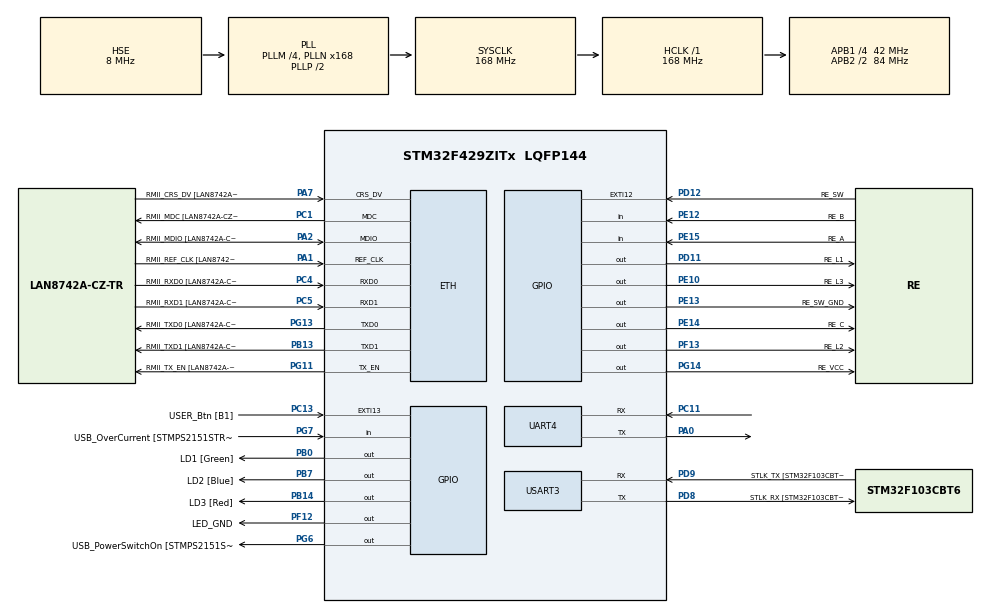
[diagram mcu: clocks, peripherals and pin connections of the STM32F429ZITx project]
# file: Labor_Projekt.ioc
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ETH.MediaInterface=ETH_MEDIA_INTERFACE_RMII
ETH.PHY_Name=LAN8742A_PHY_ADDRESS
ETH.PHY_Value=0
ETH.PhyAddress=0
FREERTOS.Tasks01=defaultTask,0,128,StartDefaultTask,Default,NULL
Mcu.Family=STM32F4
Mcu.Name=STM32F429ZITx
Mcu.Package=LQFP144
NVIC.EXTI15_10_IRQn=true\:5\:0\:false\:false\:true\:true\:true
NVIC.PriorityGroup=NVIC_PRIORITYGROUP_4
NVIC.TIM1_UP_TIM10_IRQn=true\:0\:0\:false\:false\:true\:false\:false
NVIC.TimeBase=TIM1_UP_TIM10_IRQn
NVIC.TimeBaseIP=TIM1
NVIC.UART4_IRQn=true\:5\:0\:false\:false\:true\:true\:true
PA0/WKUP.Mode=Asynchronous
PA0/WKUP.Signal=UART4_TX
PA1.GPIO_Label=RMII_REF_CLK [LAN8742A-CZ-TR_REFCLK0]
PA1.Mode=RMII
PA1.Signal=ETH_REF_CLK
PA10.GPIO_Label=USB_ID
PA10.Signal=USB_OTG_FS_ID
PA11.GPIO_Label=USB_DM
PA11.Signal=USB_OTG_FS_DM
PA12.GPIO_Label=USB_DP
PA12.Signal=USB_OTG_FS_DP
PA13.GPIO_Label=TMS
PA13.Mode=Serial_Wire
PA13.Signal=SYS_JTMS-SWDIO
PA14.GPIO_Label=TCK
PA14.Mode=Serial_Wire
PA14.Signal=SYS_JTCK-SWCLK
PA2.GPIO_Label=RMII_MDIO [LAN8742A-CZ-TR_MDIO]
PA2.Mode=RMII
PA2.Signal=ETH_MDIO
PA7.GPIO_Label=RMII_CRS_DV [LAN8742A-CZ-TR_CRS_DV]
PA7.Mode=RMII
PA7.Signal=ETH_CRS_DV
PA8.GPIO_Label=USB_SOF [TP1]
PA8.Signal=USB_OTG_FS_SOF
PA9.GPIO_Label=USB_VBUS
PA9.Signal=USB_OTG_FS_VBUS
PB0.GPIO_Label=LD1 [Green]
PB0.Signal=GPIO_Output
PB13.GPIO_Label=RMII_TXD1 [LAN8742A-CZ-TR_TXD1]
PB13.Mode=RMII
PB13.Signal=ETH_TXD1
PB14.GPIO_Label=LD3 [Red]
PB14.Signal=GPIO_Output
PB7.GPIO_Label=LD2 [Blue]
PB7.Signal=GPIO_Output
PC1.GPIO_Label=RMII_MDC [LAN8742A-CZ-TR_MDC]
PC1.Mode=RMII
PC1.Signal=ETH_MDC
PC11.Mode=Asynchronous
PC11.Signal=UART4_RX
PC13.GPIO_Label=USER_Btn [B1]
PC13.GPIO_ModeDefaultEXTI=GPIO_MODE_IT_RISING_FALLING
PC13.Signal=GPXTI13
PC14/OSC32_IN.Mode=LSE-External-Oscillator
PC14/OSC32_IN.Signal=RCC_OSC32_IN
PC15/OSC32_OUT.Mode=LSE-External-Oscillator
PC15/OSC32_OUT.Signal=RCC_OSC32_OUT
PC4.GPIO_Label=RMII_RXD0 [LAN8742A-CZ-TR_RXD0]
PC4.Mode=RMII
PC4.Signal=ETH_RXD0
PC5.GPIO_Label=RMII_RXD1 [LAN8742A-CZ-TR_RXD1]
PC5.Mode=RMII
PC5.Signal=ETH_RXD1
PD11.GPIO_Label=RE_L1
PD11.Signal=GPIO_Output
PD12.GPIO_Label=RE_SW
PD12.Signal=GPXTI12
PD8.GPIO_Label=STLK_RX [STM32F103CBT6_PA3]
PD8.Mode=Asynchronous
PD8.Signal=USART3_TX
PD9.GPIO_Label=STLK_TX [STM32F103CBT6_PA2]
PD9.Mode=Asynchronous
PD9.Signal=USART3_RX
PE10.GPIO_Label=RE_L3
PE10.Signal=GPIO_Output
PE12.GPIO_Label=RE_B
PE12.Signal=GPIO_Input
PE13.GPIO_Label=RE_SW_GND
PE13.Signal=GPIO_Output
PE14.GPIO_Label=RE_C
PE14.Signal=GPIO_Output
PE15.GPIO_Label=RE_A
PE15.Signal=GPIO_Input
PF12.GPIO_Label=LED_GND
PF12.Signal=GPIO_Output
PF13.GPIO_Label=RE_L2
PF13.Signal=GPIO_Output
PG11.GPIO_Label=RMII_TX_EN [LAN8742A-CZ-TR_TXEN]
PG11.Mode=RMII
PG11.Signal=ETH_TX_EN
PG13.GPIO_Label=RMII_TXD0 [LAN8742A-CZ-TR_TXD0]
PG13.Mode=RMII
PG13.Signal=ETH_TXD0
PG14.GPIO_Label=RE_VCC
PG14.PinState=GPIO_PIN_SET
PG14.Signal=GPIO_Output
PG6.GPIO_Label=USB_PowerSwitchOn [STMPS2151STR_EN]
PG6.Signal=GPIO_Output
PG7.GPIO_Label=USB_OverCurrent [STMPS2151STR_FAULT]
PG7.Signal=GPIO_Input
PH0/OSC_IN.GPIO_Label=MCO [STM32F103CBT6_PA8]
PH0/OSC_IN.Mode=HSE-External-Clock-Source
PH0/OSC_IN.Signal=RCC_OSC_IN
PH1/OSC_OUT.Mode=HSE-External-Clock-Source
PH1/OSC_OUT.Signal=RCC_OSC_OUT
ProjectManager.HeapSize=0x200
ProjectManager.StackSize=0x400
ProjectManager.TargetToolchain=TrueSTUDIO
RCC.48MHZClocksFreq_Value=48000000
RCC.AHBFreq_Value=168000000
RCC.APB1CLKDivider=RCC_HCLK_DIV4
RCC.APB1Freq_Value=42000000
RCC.APB1TimFreq_Value=84000000
RCC.APB2CLKDivider=RCC_HCLK_DIV2
RCC.APB2Freq_Value=84000000
RCC.APB2TimCLKDivider=2
RCC.APB2TimFreq_Value=168000000
RCC.CortexFreq_Value=168000000
RCC.HCLKFreq_Value=168000000
RCC.HSE_VALUE=8000000
RCC.HSI_VALUE=16000000
RCC.PLLM=4
RCC.PLLMUL=RCC_PLL_MUL9
RCC.PLLN=168
RCC.PLLQ=7
RCC.PLLSourceVirtual=RCC_PLLSOURCE_HSE
RCC.PRESCALERUSB=RCC_USBCLKSOURCE_PLL_DIV1_5
RCC.SYSCLKFreq_VALUE=168000000
RCC.SYSCLKSource=RCC_SYSCLKSOURCE_PLLCLK
RCC.SYSCLKSourceVirtual=RCC_SYSCLKSOURCE_PLLCLK
RCC.USBFreq_Value=48000000
RCC.VCOOutputFreq_Value=336000000
TIM6.Period=1
TIM6.Prescaler=1
UART4.VirtualMode=Asynchronous
USART3.VirtualMode=VM_ASYNC
VP_FREERTOS_VS_ENABLE.Mode=Enabled
VP_SYS_VS_tim1.Mode=TIM1
VP_TIM6_VS_ClockSourceINT.Mode=Enable_Timer
board=NUCLEO-F429ZI

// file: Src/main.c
/* USER CODE BEGIN Header */
/**
  ******************************************************************************
  * @file           : main.c
  * @brief          : Main program body
  ******************************************************************************
  * This notice applies to any and all portions of this file
  * that are not between comment pairs USER CODE BEGIN and
  * USER CODE END. Other portions of this file, whether
  * inserted by the user or by software development tools
  * are owned by their respective copyright owners.
  *
  * Copyright (c) 2019 STMicroelectronics International N.V.
  * All rights reserved.
  *
  * Redistribution and use in source and binary forms, with or without
  * modification, are permitted, provided that the following conditions are met:
  *
  * 1. Redistribution of source code must retain the above copyright notice,
  *    this list of conditions and the following disclaimer.
  * 2. Redistributions in binary form must reproduce the above copyright notice,
  *    this list of conditions and the following disclaimer in the documentation
  *    and/or other materials provided with the distribution.
  * 3. Neither the name of STMicroelectronics nor the names of other
  *    contributors to this software may be used to endorse or promote products
  *    derived from this software without specific written permission.
  * 4. This software, including modifications and/or derivative works of this
  *    software, must execute solely and exclusively on microcontroller or
  *    microprocessor devices manufactured by or for STMicroelectronics.
  * 5. Redistribution and use of this software other than as permitted under
  *    this license is void and will automatically terminate your rights under
  *    this license.
  *
  * THIS SOFTWARE IS PROVIDED BY STMICROELECTRONICS AND CONTRIBUTORS "AS IS"
  * AND ANY EXPRESS, IMPLIED OR STATUTORY WARRANTIES, INCLUDING, BUT NOT
  * LIMITED TO, THE IMPLIED WARRANTIES OF MERCHANTABILITY, FITNESS FOR A
  * PARTICULAR PURPOSE AND NON-INFRINGEMENT OF THIRD PARTY INTELLECTUAL PROPERTY
  * RIGHTS ARE DISCLAIMED TO THE FULLEST EXTENT PERMITTED BY LAW. IN NO EVENT
  * SHALL STMICROELECTRONICS OR CONTRIBUTORS BE LIABLE FOR ANY DIRECT, INDIRECT,
  * INCIDENTAL, SPECIAL, EXEMPLARY, OR CONSEQUENTIAL DAMAGES (INCLUDING, BUT NOT
  * LIMITED TO, PROCUREMENT OF SUBSTITUTE GOODS OR SERVICES; LOSS OF USE, DATA,
  * OR PROFITS; OR BUSINESS INTERRUPTION) HOWEVER CAUSED AND ON ANY THEORY OF
  * LIABILITY, WHETHER IN CONTRACT, STRICT LIABILITY, OR TORT (INCLUDING
  * NEGLIGENCE OR OTHERWISE) ARISING IN ANY WAY OUT OF THE USE OF THIS SOFTWARE,
  * EVEN IF ADVISED OF THE POSSIBILITY OF SUCH DAMAGE.
  *
  ******************************************************************************
  */
/* USER CODE END Header */

#include "main.h"
#include "cmsis_os.h"

/* USER CODE BEGIN Includes */
#include "math.h"
#include "string.h"
/* USER CODE END Includes */

ETH_HandleTypeDef heth;

TIM_HandleTypeDef htim6;

UART_HandleTypeDef huart4;
UART_HandleTypeDef huart3;

osThreadId defaultTaskHandle;
/* USER CODE BEGIN PV */
uint8_t buffer[4];
char receiveChar;
int change = 0;
int count = 0;
int factor = 2;
int pulse = 0;
int steps = 6;
int period = 0;
/* USER CODE END PV */

void SystemClock_Config(void);
static void MX_GPIO_Init(void);
static void MX_ETH_Init(void);
static void MX_USART3_UART_Init(void);
static void MX_UART4_Init(void);
static void MX_TIM6_Init(void);
void StartDefaultTask(void const * argument);

/* USER CODE BEGIN PFP */
void extension_board(void *pvParameters);
/* USER CODE END PFP */

/* USER CODE BEGIN 0 */

void UART_Send_String(char* String){
	HAL_UART_Transmit((&huart3), (uint8_t *)String, strlen(String), HAL_MAX_DELAY);
}

/*void UART_Receive_String(char* receive){
	//while(int i = 0; )
		HAL_UART_Receive((&huart3), (unsigned char *)receive, sizeof(char), 1/portTICK_PERIOD_MS);

}*/

void UART_Test()
{
	UART_Send_String("Lorem ipsum dolor sit amet\n\r");
}

/* USER CODE END 0 */

int main(void)
{
  /* USER CODE BEGIN 1 */
	pulse = factor;
	period = pow(factor,(steps-2));
  /* USER CODE END 1 */

  /* MCU Configuration--------------------------------------------------------*/

  /* Reset of all peripherals, Initializes the Flash interface and the Systick. */
  HAL_Init();

  /* Configure the system clock */
  SystemClock_Config();

  /* Initialize all configured peripherals */
  MX_GPIO_Init();
  MX_ETH_Init();
  MX_USART3_UART_Init();
  MX_UART4_Init();
  MX_TIM6_Init();

  /* Create the thread(s) */
  /* definition and creation of defaultTask */
  osThreadDef(defaultTask, StartDefaultTask, osPriorityNormal, 0, 128);
  defaultTaskHandle = osThreadCreate(osThread(defaultTask), NULL);

  /* USER CODE BEGIN RTOS_THREADS */
  /* add threads, ... */
  xTaskCreate(extension_board,"extension_board",100,NULL,tskIDLE_PRIORITY,NULL);
  /* USER CODE END RTOS_THREADS */

  /* Start scheduler */
  osKernelStart();

  /* We should never get here as control is now taken by the scheduler */

  /* Infinite loop */
  while (1)
  {

  }
}

void SystemClock_Config(void)
{
  RCC_OscInitTypeDef RCC_OscInitStruct = {0};
  RCC_ClkInitTypeDef RCC_ClkInitStruct = {0};

  /**Configure the main internal regulator output voltage
  */
  __HAL_RCC_PWR_CLK_ENABLE();
  __HAL_PWR_VOLTAGESCALING_CONFIG(PWR_REGULATOR_VOLTAGE_SCALE1);
  /**Initializes the CPU, AHB and APB busses clocks
  */
  RCC_OscInitStruct.OscillatorType = RCC_OSCILLATORTYPE_HSE;
  RCC_OscInitStruct.HSEState = RCC_HSE_BYPASS;
  RCC_OscInitStruct.PLL.PLLState = RCC_PLL_ON;
  RCC_OscInitStruct.PLL.PLLSource = RCC_PLLSOURCE_HSE;
  RCC_OscInitStruct.PLL.PLLM = 4;
  RCC_OscInitStruct.PLL.PLLN = 168;
  RCC_OscInitStruct.PLL.PLLP = RCC_PLLP_DIV2;
  RCC_OscInitStruct.PLL.PLLQ = 7;
  if (HAL_RCC_OscConfig(&RCC_OscInitStruct) != HAL_OK)
  {
    Error_Handler();
  }
  /**Initializes the CPU, AHB and APB busses clocks
  */
  RCC_ClkInitStruct.ClockType = RCC_CLOCKTYPE_HCLK|RCC_CLOCKTYPE_SYSCLK
                              |RCC_CLOCKTYPE_PCLK1|RCC_CLOCKTYPE_PCLK2;
  RCC_ClkInitStruct.SYSCLKSource = RCC_SYSCLKSOURCE_PLLCLK;
  RCC_ClkInitStruct.AHBCLKDivider = RCC_SYSCLK_DIV1;
  RCC_ClkInitStruct.APB1CLKDivider = RCC_HCLK_DIV4;
  RCC_ClkInitStruct.APB2CLKDivider = RCC_HCLK_DIV2;

  if (HAL_RCC_ClockConfig(&RCC_ClkInitStruct, FLASH_LATENCY_5) != HAL_OK)
  {
    Error_Handler();
  }
}

static void MX_ETH_Init(void)
{

   uint8_t MACAddr[6] ;

  heth.Instance = ETH;
  heth.Init.AutoNegotiation = ETH_AUTONEGOTIATION_ENABLE;
  heth.Init.PhyAddress = LAN8742A_PHY_ADDRESS;
  MACAddr[0] = 0x00;
  MACAddr[1] = 0x80;
  MACAddr[2] = 0xE1;
  MACAddr[3] = 0x00;
  MACAddr[4] = 0x00;
  MACAddr[5] = 0x00;
  heth.Init.MACAddr = &MACAddr[0];
  heth.Init.RxMode = ETH_RXPOLLING_MODE;
  heth.Init.ChecksumMode = ETH_CHECKSUM_BY_HARDWARE;
  heth.Init.MediaInterface = ETH_MEDIA_INTERFACE_RMII;

  if (HAL_ETH_Init(&heth) != HAL_OK)
  {
    Error_Handler();
  }

}

static void MX_TIM6_Init(void)
{

  TIM_MasterConfigTypeDef sMasterConfig = {0};

  htim6.Instance = TIM6;
  htim6.Init.Prescaler = 1;
  htim6.Init.CounterMode = TIM_COUNTERMODE_UP;
  htim6.Init.Period = 1;
  if (HAL_TIM_Base_Init(&htim6) != HAL_OK)
  {
    Error_Handler();
  }
  sMasterConfig.MasterOutputTrigger = TIM_TRGO_RESET;
  sMasterConfig.MasterSlaveMode = TIM_MASTERSLAVEMODE_DISABLE;
  if (HAL_TIMEx_MasterConfigSynchronization(&htim6, &sMasterConfig) != HAL_OK)
  {
    Error_Handler();
  }

}

static void MX_UART4_Init(void)
{

  huart4.Instance = UART4;
  huart4.Init.BaudRate = 115200;
  huart4.Init.WordLength = UART_WORDLENGTH_8B;
  huart4.Init.StopBits = UART_STOPBITS_1;
  huart4.Init.Parity = UART_PARITY_NONE;
  huart4.Init.Mode = UART_MODE_TX_RX;
  huart4.Init.HwFlowCtl = UART_HWCONTROL_NONE;
  huart4.Init.OverSampling = UART_OVERSAMPLING_16;
  if (HAL_UART_Init(&huart4) != HAL_OK)
  {
    Error_Handler();
  }

}

static void MX_USART3_UART_Init(void)
{

  huart3.Instance = USART3;
  huart3.Init.BaudRate = 115200;
  huart3.Init.WordLength = UART_WORDLENGTH_8B;
  huart3.Init.StopBits = UART_STOPBITS_1;
  huart3.Init.Parity = UART_PARITY_NONE;
  huart3.Init.Mode = UART_MODE_TX_RX;
  huart3.Init.HwFlowCtl = UART_HWCONTROL_NONE;
  huart3.Init.OverSampling = UART_OVERSAMPLING_16;
  if (HAL_UART_Init(&huart3) != HAL_OK)
  {
    Error_Handler();
  }

}

static void MX_GPIO_Init(void)
{
  GPIO_InitTypeDef GPIO_InitStruct = {0};

  /* GPIO Ports Clock Enable */
  __HAL_RCC_GPIOC_CLK_ENABLE();
  __HAL_RCC_GPIOH_CLK_ENABLE();
  __HAL_RCC_GPIOA_CLK_ENABLE();
  __HAL_RCC_GPIOB_CLK_ENABLE();
  __HAL_RCC_GPIOF_CLK_ENABLE();
  __HAL_RCC_GPIOE_CLK_ENABLE();
  __HAL_RCC_GPIOD_CLK_ENABLE();
  __HAL_RCC_GPIOG_CLK_ENABLE();

  /*Configure GPIO pin Output Level */
  HAL_GPIO_WritePin(GPIOB, LD1_Pin|LD3_Pin|LD2_Pin, GPIO_PIN_RESET);

  /*Configure GPIO pin Output Level */
  HAL_GPIO_WritePin(GPIOF, LED_GND_Pin|RE_L2_Pin, GPIO_PIN_RESET);

  /*Configure GPIO pin Output Level */
  HAL_GPIO_WritePin(GPIOE, RE_L3_Pin|RE_SW_GND_Pin|RE_C_Pin, GPIO_PIN_RESET);

  /*Configure GPIO pin Output Level */
  HAL_GPIO_WritePin(RE_L1_GPIO_Port, RE_L1_Pin, GPIO_PIN_RESET);

  /*Configure GPIO pin Output Level */
  HAL_GPIO_WritePin(USB_PowerSwitchOn_GPIO_Port, USB_PowerSwitchOn_Pin, GPIO_PIN_RESET);

  /*Configure GPIO pin Output Level */
  HAL_GPIO_WritePin(RE_VCC_GPIO_Port, RE_VCC_Pin, GPIO_PIN_SET);

  /*Configure GPIO pin : USER_Btn_Pin */
  GPIO_InitStruct.Pin = USER_Btn_Pin;
  GPIO_InitStruct.Mode = GPIO_MODE_IT_RISING_FALLING;
  GPIO_InitStruct.Pull = GPIO_NOPULL;
  HAL_GPIO_Init(USER_Btn_GPIO_Port, &GPIO_InitStruct);

  /*Configure GPIO pins : LD1_Pin LD3_Pin LD2_Pin */
  GPIO_InitStruct.Pin = LD1_Pin|LD3_Pin|LD2_Pin;
  GPIO_InitStruct.Mode = GPIO_MODE_OUTPUT_PP;
  GPIO_InitStruct.Pull = GPIO_NOPULL;
  GPIO_InitStruct.Speed = GPIO_SPEED_FREQ_LOW;
  HAL_GPIO_Init(GPIOB, &GPIO_InitStruct);

  /*Configure GPIO pins : LED_GND_Pin RE_L2_Pin */
  GPIO_InitStruct.Pin = LED_GND_Pin|RE_L2_Pin;
  GPIO_InitStruct.Mode = GPIO_MODE_OUTPUT_PP;
  GPIO_InitStruct.Pull = GPIO_NOPULL;
  GPIO_InitStruct.Speed = GPIO_SPEED_FREQ_LOW;
  HAL_GPIO_Init(GPIOF, &GPIO_InitStruct);

  /*Configure GPIO pins : RE_L3_Pin RE_SW_GND_Pin RE_C_Pin */
  GPIO_InitStruct.Pin = RE_L3_Pin|RE_SW_GND_Pin|RE_C_Pin;
  GPIO_InitStruct.Mode = GPIO_MODE_OUTPUT_PP;
  GPIO_InitStruct.Pull = GPIO_NOPULL;
  GPIO_InitStruct.Speed = GPIO_SPEED_FREQ_LOW;
  HAL_GPIO_Init(GPIOE, &GPIO_InitStruct);

  /*Configure GPIO pins : RE_B_Pin RE_A_Pin */
  GPIO_InitStruct.Pin = RE_B_Pin|RE_A_Pin;
  GPIO_InitStruct.Mode = GPIO_MODE_INPUT;
  GPIO_InitStruct.Pull = GPIO_NOPULL;
  HAL_GPIO_Init(GPIOE, &GPIO_InitStruct);

  /*Configure GPIO pin : RE_L1_Pin */
  GPIO_InitStruct.Pin = RE_L1_Pin;
  GPIO_InitStruct.Mode = GPIO_MODE_OUTPUT_PP;
  GPIO_InitStruct.Pull = GPIO_NOPULL;
  GPIO_InitStruct.Speed = GPIO_SPEED_FREQ_LOW;
  HAL_GPIO_Init(RE_L1_GPIO_Port, &GPIO_InitStruct);

  /*Configure GPIO pin : RE_SW_Pin */
  GPIO_InitStruct.Pin = RE_SW_Pin;
  GPIO_InitStruct.Mode = GPIO_MODE_IT_RISING;
  GPIO_InitStruct.Pull = GPIO_NOPULL;
  HAL_GPIO_Init(RE_SW_GPIO_Port, &GPIO_InitStruct);

  /*Configure GPIO pins : USB_PowerSwitchOn_Pin RE_VCC_Pin */
  GPIO_InitStruct.Pin = USB_PowerSwitchOn_Pin|RE_VCC_Pin;
  GPIO_InitStruct.Mode = GPIO_MODE_OUTPUT_PP;
  GPIO_InitStruct.Pull = GPIO_NOPULL;
  GPIO_InitStruct.Speed = GPIO_SPEED_FREQ_LOW;
  HAL_GPIO_Init(GPIOG, &GPIO_InitStruct);

  /*Configure GPIO pin : USB_OverCurrent_Pin */
  GPIO_InitStruct.Pin = USB_OverCurrent_Pin;
  GPIO_InitStruct.Mode = GPIO_MODE_INPUT;
  GPIO_InitStruct.Pull = GPIO_NOPULL;
  HAL_GPIO_Init(USB_OverCurrent_GPIO_Port, &GPIO_InitStruct);

  /*Configure GPIO pins : USB_SOF_Pin USB_ID_Pin USB_DM_Pin USB_DP_Pin */
  GPIO_InitStruct.Pin = USB_SOF_Pin|USB_ID_Pin|USB_DM_Pin|USB_DP_Pin;
  GPIO_InitStruct.Mode = GPIO_MODE_AF_PP;
  GPIO_InitStruct.Pull = GPIO_NOPULL;
  GPIO_InitStruct.Speed = GPIO_SPEED_FREQ_VERY_HIGH;
  GPIO_InitStruct.Alternate = GPIO_AF10_OTG_FS;
  HAL_GPIO_Init(GPIOA, &GPIO_InitStruct);

  /*Configure GPIO pin : USB_VBUS_Pin */
  GPIO_InitStruct.Pin = USB_VBUS_Pin;
  GPIO_InitStruct.Mode = GPIO_MODE_INPUT;
  GPIO_InitStruct.Pull = GPIO_NOPULL;
  HAL_GPIO_Init(USB_VBUS_GPIO_Port, &GPIO_InitStruct);

  /* EXTI interrupt init*/
  HAL_NVIC_SetPriority(EXTI15_10_IRQn, 5, 0);
  HAL_NVIC_EnableIRQ(EXTI15_10_IRQn);

}

void StartDefaultTask(void const * argument)
{

  for(;;)
  {
    osDelay(1);
  }
}

void HAL_TIM_PeriodElapsedCallback(TIM_HandleTypeDef *htim)
{
  if (htim->Instance == TIM1) {
    HAL_IncTick();
  }
}

void Error_Handler(void)
{
}

/************************ (C) COPYRIGHT STMicroelectronics *****END OF FILE****/
